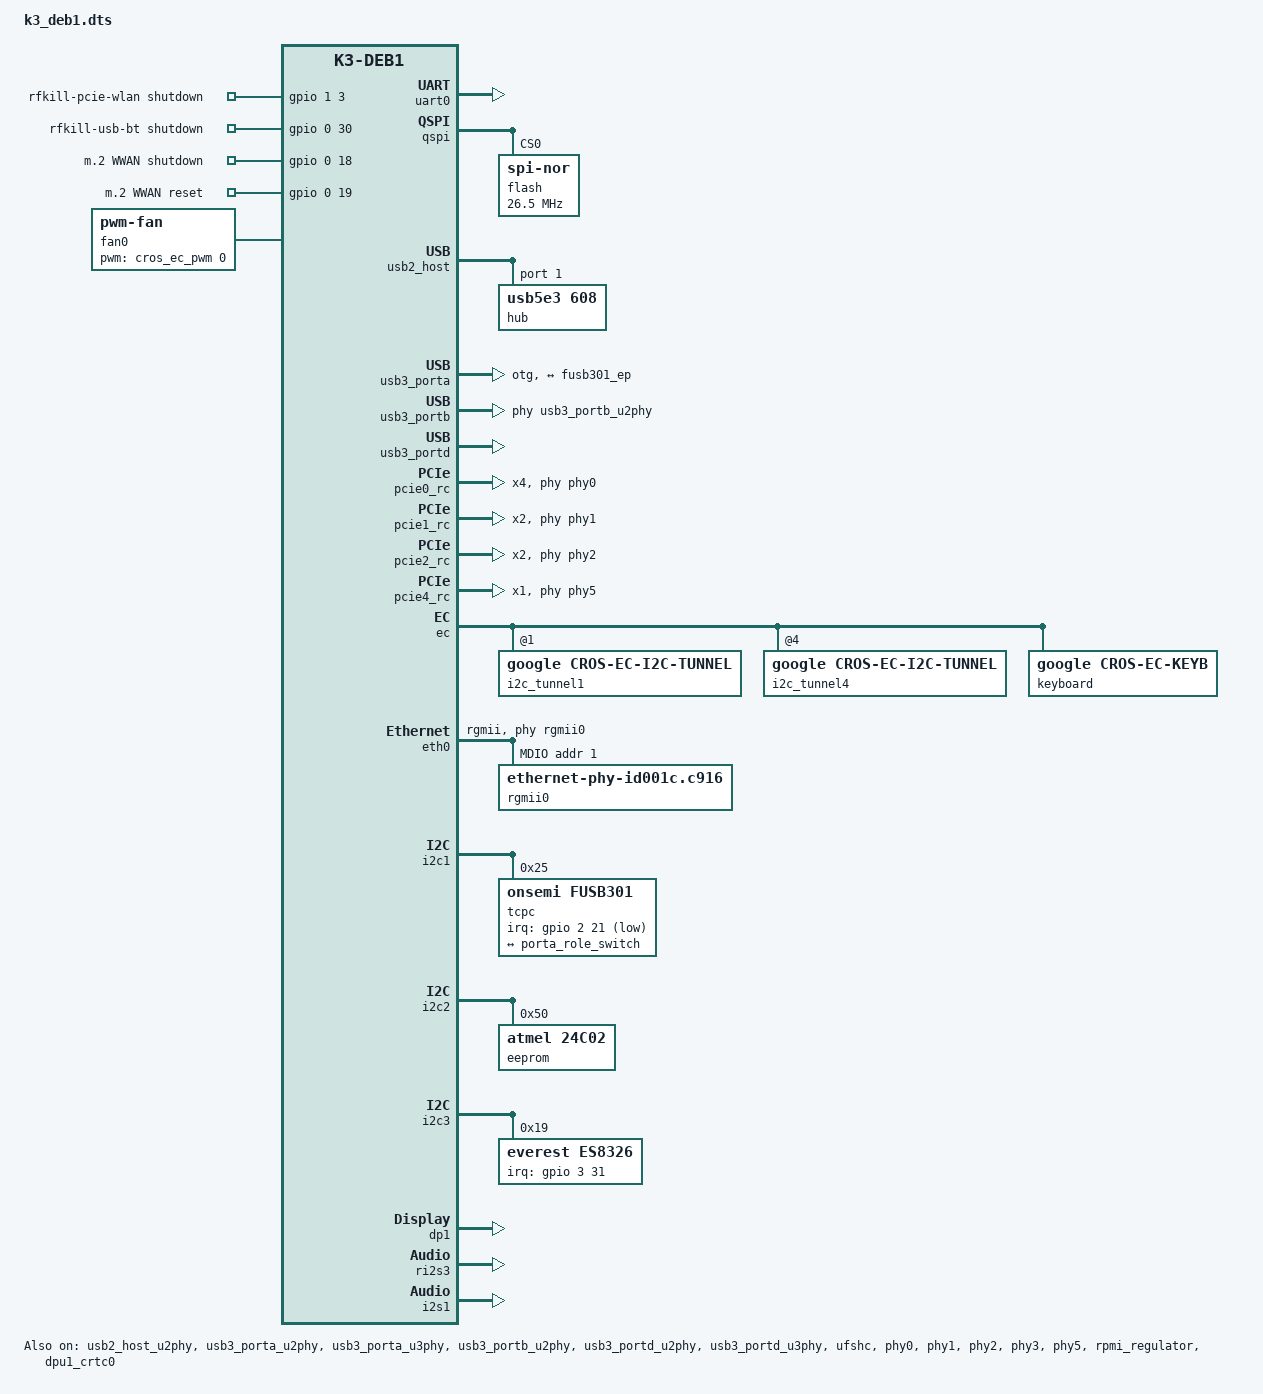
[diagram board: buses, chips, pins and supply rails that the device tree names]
// SPDX-License-Identifier: (GPL-2.0 OR MIT)
/* Copyright (c) 2025 Spacemit, Inc */

#include "k3.dtsi"
#include "k3-rdomain.dtsi"
#include "k3-pinctrl.dtsi"
#include "k3_opp_table.dtsi"
#include "k3-dp1.dtsi"
#include <dt-bindings/input/input.h>
#include <dt-bindings/input/cros-ec-keyboard.h>

/ {
	compatible = "spacemit,k3-deb1";
	cpus: cpus {
		#address-cells = <1>;
		#size-cells = <0>;
		timebase-frequency = <24000000>;
	};
/*
	p12v: p12v {
		compatible = "regulator-fixed";
		regulator-name = "p12v";
		regulator-always-on;
		regulator-boot-on;
		regulator-min-microvolt = <12000000>;
		regulator-max-microvolt = <12000000>;
		status = "disabled";
	};

	aux_5v: aux_5v {
		compatible = "regulator-fixed";
		regulator-name = "aux_5v";
		regulator-always-on;
		regulator-boot-on;
		regulator-min-microvolt = <5000000>;
		regulator-max-microvolt = <5000000>;
		vin-supply = <&p12v>;
		status = "disabled";
	};

	aux_3v3: aux_3v3 {
		compatible = "regulator-fixed";
		regulator-name = "aux_3v3";
		regulator-always-on;
		regulator-boot-on;
		regulator-min-microvolt = <3300000>;
		regulator-max-microvolt = <3300000>;
		vin-supply = <&aux_5v>;
		status = "disabled";
	};

	p1v8: p1v8 {
		compatible = "regulator-fixed";
		regulator-name = "p1v8";
		regulator-always-on;
		regulator-boot-on;
		regulator-min-microvolt = <1800000>;
		regulator-max-microvolt = <1800000>;
		vin-supply = <&p12v>;
		status = "disabled";
	};

	p3v3: p3v3 {
		compatible = "regulator-fixed";
		regulator-name = "p3v3";
		regulator-always-on;
		regulator-boot-on;
		regulator-min-microvolt = <3300000>;
		regulator-max-microvolt = <3300000>;
		vin-supply = <&p12v>;
		status = "disabled";
	};
*/
	chosen {
                bootargs = "earlycon=sbi console=ttyS0,115200 clk_ignore_unused nohlt loglevel=8 random.trust_bootloader=1";
                rng-seed = <0x25d69b2 0xff555073 0xd23238ea 0x57aa5455 0x792478ed 0xa744f28e 0x6ba4fc54 0xa2bf20fc>;
		stdout-path = "serial0:115200";
	};

	rfkill-pcie-wlan {
		compatible = "rfkill-gpio";
		label = "rfkill-pcie-wlan";
		pinctrl-names = "default";
		pinctrl-0 = <&wlan_en_cfg>;
		radio-type = "wlan";
		shutdown-gpios = <&gpio 1 3 GPIO_ACTIVE_HIGH>;
	};

	rfkill-usb-bt {
		compatible = "rfkill-gpio";
		label = "rfkill-usb-bt";
		pinctrl-names = "default";
		pinctrl-0 = <&bt_en_cfg>;
		radio-type = "bluetooth";
		shutdown-gpios = <&gpio 0 30 GPIO_ACTIVE_HIGH>;
	};

	rfkill-usb-wwan {
		compatible = "rfkill-gpio";
		label = "m.2 WWAN"; /* B-Key */
		radio-type = "wwan";
		/* MODULE_TURN_ON_1V8 (FC_PWROFF#) */
		shutdown-gpios = <&gpio 0 18 GPIO_ACTIVE_HIGH>;
		/* WWAN_RESET#_1V8 (WWAN1V8_RST#) */
		reset-gpios = <&gpio 0 19 GPIO_ACTIVE_HIGH>;
		/* GPIO84 for CPU_W_DISABLE#1 (WWAN_DIS#) is no needed*/
	};

	fan0: pwm-fan {
		compatible = "pwm-fan";
		pwms = <&cros_ec_pwm 0>;
		/*
		* Cooling states (0-6) -> PWM duty (0-255)
		* Full speed is treated as ~6000RPM.
		* Linear distribution from 0 to 255
		*/
		cooling-levels = <0 50 64 75 102 118 153 178 204 229>;
		#cooling-cells = <2>;
	};
};

&resmem {
	/* global autoconfigured region for contiguous allocations */
	cmamem: linux,cma {
		compatible = "shared-dma-pool";
		reusable;
		size = <0 0x20000000>;
		alloc-ranges = <1 0x40000000 0 0x20000000>;
		linux,cma-default;
	};
};

&pinctrl {
	gmac0-cfg {
		/delete-node/ gmac0-2-pins;
		/delete-node/ gmac0-4-pins;
		/delete-node/ gmac0-5-pins;

		gmac0-0-pins {
			power-source = <1800>;
		};

		gmac0-1-pins {
			power-source = <1800>;
		};

		gmac0-3-pins {
			power-source = <1800>;
		};

		gmac0-6-pins {
			pinmux = <K3_PADCONF(15, 0)>;

			bias-disable;
			drive-strength = <25>;
			power-source = <1800>;
		};
	};

	i2c2-1-cfg {
		i2c2-0-pins {
			power-source = <1800>;
		};
	};

	i2c1-3-cfg {
		i2c1-0-pins {
			power-source = <3300>;
		};
	};

	i2c3-1-cfg {
		i2c3-0-pins {
			power-source = <3300>;
		};
	};

	usb30_drd_dir-0-cfg {
		usb30_drd_dir-pins {
			power-source = <1800>;
		};
	};

	fusb301_cfg: fusb301-cfg {
		fusb301-0-pins {
			pinmux = <K3_PADCONF(85, 0)>;

			bias-pull-up;
			drive-strength = <25>;
			power-source = <1800>;
		};
	};

	qspi-cfg {
		/delete-node/ qspi-1-pins;
		qspi-0-pins {
			power-source = <1800>;
		};
	};

	pcie0-1-cfg {
		pcie0-0-pins {
			pinmux = <K3_PADCONF(79, 5)>,
				 <K3_PADCONF(81, 5)>;

			bias-pull-up;
			drive-strength = <33>;
			power-source = <1800>;
		};
	};

	pcie1-1-cfg {
		pcie1-0-pins {
			pinmux = <K3_PADCONF(88, 4)>,	/* pcie1 perst */
				 <K3_PADCONF(90, 4)>;	/* pcie1 clkreq */

			bias-pull-up;
			drive-strength = <33>;
			power-source = <1800>;
		};
	};

	pcie2-1-cfg {
		pcie2-0-pins {
			pinmux = <K3_PADCONF(25, 4)>,	/* pcie2 perst */
				 <K3_PADCONF(27, 4)>;	/* pcie2 clkreq */

			drive-strength = <38>;
			power-source = <3300>;
		};
	};

	pcie4_0_cfg: pcie4-0-cfg {
		pcie4-0-pins {
			pinmux = <K3_PADCONF(76, 5)>,	/* pcie4 perst */
				 <K3_PADCONF(77, 5)>,	/* pcie4 wake */
				 <K3_PADCONF(78, 5)>;	/* pcie4 clkreq */

			bias-pull-up;			/* normal bias disable */
			drive-strength = <33>;		/* DS8 */
			power-source = <1800>;
		};
	};

	wlan_en_cfg: wl-en-cfg {
		wlan-en-pins {
			pinmux = <K3_PADCONF(35, 0)>;

			bias-pull-up;
			drive-strength = <38>;
			power-source = <3300>;
		};
	};

	bt_en_cfg: bt-en-cfg {
		bt-en-pins {
			pinmux = <K3_PADCONF(30, 0)>;

			bias-pull-up;
			drive-strength = <38>;
			power-source = <3300>;
		};
	};

	dp1_1_cfg: dp1-1-cfg {
		dp1-0-pins {
			pinmux = <K3_PADCONF(24, 6)>;	/* dp1 hpd */

			bias-disable;			/* normal bias disable */
			drive-strength = <25>;		/* DS8 */
			power-source = <3300>;
		};
	};

	dp0_1_cfg: dp0-1-cfg {
		dp0-0-pins {
			pinmux = <K3_PADCONF(23, 6)>;	/* dp0 hpd */

			bias-disable;			/* normal bias disable */
			drive-strength = <25>;		/* DS8 */
			power-source = <3300>;
		};
	};

	sspa1_1_cfg: sspa1-1-cfg {
		sspa1-0-pins {
			power-source = <3300>;
		};
	};
};

&uart0 {
	pinctrl-names = "default";
	pinctrl-0 = <&uart0_0_cfg>;
	status = "okay";
};

&qspi {
	pinctrl-names = "default";
	pinctrl-0 = <&qspi_cfg>;
	spacemit,qspi-tx-dma = <0>;
	spacemit,qspi-rx-dma = <0>;
	status = "okay";

	flash@0 {
		compatible = "jedec,spi-nor";
		reg = <0>;
		spi-max-frequency = <26500000>;
		m25p,fast-read;
		broken-flash-reset;
		status = "okay";
	};
};

&usb2_host_u2phy {
	status = "okay";
};

&usb2_host {
	#address-cells = <1>;
	#size-cells = <0>;
	status = "okay";

	hub@1 {
		/* FE1.1S USB2.0 hub (4 ports) */
		compatible = "usb5e3,608";
		reg = <1>;
	};
};

&usb3_porta_u2phy {
	status = "okay";
};

&usb3_porta_u3phy {
	/* dual phy selection is auto detect from GPIO86(SS_SW_3V3) */
	pinctrl-names = "default";
	pinctrl-0 = <&usb30_drd_dir_0_cfg>;
	status = "okay";
};

&usb3_porta {
	dr_mode = "otg";
	usb-role-switch;
	role-switch-default-mode = "peripheral";
	monitor-vbus;
	status = "okay";

	ports {
		#address-cells = <1>;
		#size-cells = <0>;
		port@0 {
			reg = <0x0>;
			porta_role_switch: endpoint {
				remote-endpoint = <&fusb301_ep>;
			};
		};
	};
};

&usb3_portb_u2phy {
	status = "okay";
};

&usb3_portb {
	/* M2.B Socket, only enable USB2 phy */
	/delete-property/ phys;
	/delete-property/ phy-names;
	maximum-speed = "high-speed";
	phys = <&usb3_portb_u2phy>;
	phy-names = "usb2-phy";
	status = "disabled";
	status = "okay";
};

&usb3_portc_u2phy {
	status = "disabled";
};

&usb3_portc_u3phy {
	status = "disabled";
};

&usb3_portc {
	/* Bluetooth, only enable USB2 phy */
	/delete-property/ phys;
	/delete-property/ phy-names;
	maximum-speed = "high-speed";
	phys = <&usb3_portc_u2phy>;
	phy-names = "usb2-phy";
	status = "disabled";
};

&usb3_portd_u2phy {
	status = "okay";
};

&usb3_portd_u3phy {
	status = "okay";
};

&usb3_portd {
	/* TypeC (USB3/DP/Power) (with ANX7447 chip) */
	status = "okay";
};

&ufshc {
	status = "okay";
};

&phy0 {
	status = "okay";
};

&phy1 {
	status = "okay";
};

&phy2 {
	status = "okay";
};

&phy3 {
	status = "okay";
};

&phy5 {
	status = "okay";
};

&pcie0_rc {
	pinctrl-names = "default";
	pinctrl-0 = <&pcie0_1_cfg>;
	phys = <&phy0>, <&phy1>;
	phy-names = "phy0", "phy1";
	num-lanes = <4>;
	spacemit,device-detect-gpios = <&gpio 2 25 GPIO_ACTIVE_HIGH>;
	status = "okay";
};

&pcie1_rc {
	pinctrl-names = "default";
	pinctrl-0 = <&pcie1_1_cfg>;
	phys = <&phy1>;
	phy-names = "phy1";
	num-lanes = <2>;
	status = "okay";
};

&pcie2_rc {
	pinctrl-names = "default";
	pinctrl-0 = <&pcie2_1_cfg>;
	phys = <&phy2>, <&phy3>;
	phy-names = "phy2", "phy3";
	num-lanes = <2>;
	status = "okay";
};

&pcie4_rc {
	pinctrl-names = "default";
	pinctrl-0 = <&pcie4_0_cfg>;
	phys = <&phy5>;
	phy-names = "phy5";
	num-lanes = <1>;
	status = "okay";
};

&ec {
	status = "okay";
	interrupt-parent = <&gpio>;
	interrupts = <1 11 IRQ_TYPE_EDGE_RISING>;

	i2c_tunnel1: i2c-tunnel@1 {
		compatible = "google,cros-ec-i2c-tunnel";
		#address-cells = <1>;
		#size-cells = <0>;
		google,remote-bus = <1>;
	};

	i2c_tunnel4: i2c-tunnel@4 {
		compatible = "google,cros-ec-i2c-tunnel";
		#address-cells = <1>;
		#size-cells = <0>;
		google,remote-bus = <4>;
	};

	/* EC PWM provider for fan control */
	cros_ec_pwm: pwm {
		compatible = "google,cros-ec-pwm";
		#pwm-cells = <1>;
	};

	keyboard {
		compatible = "google,cros-ec-keyb";
		keypad,num-rows = <8>;
		keypad,num-columns = <16>;
		linux,keymap = <
				CROS_STD_TOP_ROW_KEYMAP
				CROS_STD_MAIN_KEYMAP
		>;
	};
};

&eth0 {
	pinctrl-names = "default";
	pinctrl-0 = <&gmac0_cfg>;

	max-speed = <1000>;
	tx-fifo-depth = <8192>;
	rx-fifo-depth = <8192>;
	snps,tso;
	snps,force_sf_dma_mode;
	phy-mode = "rgmii";
	phy-handle = <&rgmii0>;
	snps,reset-gpios = <&gpio 0 15 GPIO_ACTIVE_LOW>;
	snps,reset-delays-us = <2 10000 10000>;

	spacemit,wake-irq-enable;

	spacemit,clk-tuning-enable;
	spacemit,clk-tuning-by-delayline;
	spacemit,tx-phase = <73>;
	spacemit,rx-phase = <61>;

	status = "okay";

	mdio {
		#address-cells = <1>;
		#size-cells = <0>;
		compatible = "snps,dwmac-mdio";

		rgmii0: phy@0 {
			compatible = "ethernet-phy-id001c.c916";
			reg = <0x1>;
			device_type = "ethernet-phy";
		};
	};
};

&thermal_zones {
	thermal_top {
		polling-delay = <1000>;
		polling-delay-passive = <500>;
		thermal-sensors = <&thermal 0>;

		trips {
			thermal_top_trip0: thermal_top-trip0 {
				temperature = <45000>;
				hysteresis = <2000>;
				type = "active";
			};
		};
	};

	thermal_vpu {
		polling-delay = <1000>;
		polling-delay-passive = <500>;
		thermal-sensors = <&thermal 2>;

		trips {
			thermal_vpu_trip0: thermal_vpu-trip0 {
				temperature = <60000>;
				hysteresis = <2000>;
				type = "active";
			};
		};
	};

	thermal_gpu {
		polling-delay = <1000>;
		polling-delay-passive = <500>;
		thermal-sensors = <&thermal 3>;

		trips {
			thermal_gpu_trip0: thermal_gpu-trip0 {
				temperature = <60000>;
				hysteresis = <2000>;
				type = "active";
			};
		};
	};

	thermal_cluster0 {
		polling-delay = <1000>;
		polling-delay-passive = <500>;
		thermal-sensors = <&thermal 4>;

		trips {
			thermal_cluster0_trip0: thermal_cluster0-trip0 {
				temperature = <35000>;
				hysteresis = <2000>;
				type = "active";
			};

			thermal_cluster0_trip1: thermal_cluster0-trip1 {
				temperature = <42000>;
				hysteresis = <2000>;
				type = "passive";
			};

			thermal_cluster0_trip2: thermal_cluster0-trip2 {
				temperature = <52000>;
				hysteresis = <2000>;
				type = "passive";
			};

			thermal_cluster0_trip3: thermal_cluster0-trip3 {
				temperature = <65000>;
				hysteresis = <2000>;
				type = "passive";
			};

			thermal_cluster0_trip4: thermal_cluster0-trip4 {
				temperature = <72000>;
				hysteresis = <2000>;
				type = "passive";
			};
		};

		cooling-maps {
			map0 {
				trip = <&thermal_cluster0_trip0>;
				cooling-device = <&fan0 0 1>;
			};

			map1 {
				trip = <&thermal_cluster0_trip1>;
				cooling-device = <&fan0 2 3>;
			};

			map2 {
				trip = <&thermal_cluster0_trip2>;
				cooling-device = <&fan0 4 5>;
			};

			map3 {
				trip = <&thermal_cluster0_trip3>;
				cooling-device = <&fan0 6 7>;
			};

			map4 {
				trip = <&thermal_cluster0_trip4>;
				cooling-device = <&fan0 8 9>;
			};
		};
	};
	thermal_cluster1 {
		polling-delay = <1000>;
		polling-delay-passive = <250>;
		thermal-sensors = <&thermal 5>;

		trips {
			thermal_cluster1_trip0: thermal_cluster1-trip0 {
				temperature = <40000>;
				hysteresis = <5000>;
				type = "passive";
			};
		};
	};

	thermal_cluster2 {
		polling-delay = <1000>;
		polling-delay-passive = <250>;
		thermal-sensors = <&thermal 6>;

		trips {
			thermal_cluster2_trip0: thermal_cluster2-trip0 {
				temperature = <40000>;
				hysteresis = <5000>;
				type = "passive";
			};
		};
	};

	thermal_cluster3 {
		polling-delay = <1000>;
		polling-delay-passive = <250>;
		thermal-sensors = <&thermal 7>;

		trips {
			thermal_cluster7_trip0: thermal_cluster7-trip0 {
				temperature = <40000>;
				hysteresis = <5000>;
				type = "passive";
			};
		};
	};
};

&rpmi_regulator {
	status = "okay";
	pinctrl-names = "default";
	pinctrl-0 = <&i2c8_cfg_rcpu>;

	pvin: pvin {
		regulator-min-microvolt = <5000000>;
		regulator-max-microvolt = <5000000>;
		regulator-always-on;
		regulator-boot-on;
	};

	edcdc2: edcdc2 {
		regulator-min-microvolt = <800000>;
		regulator-max-microvolt = <800000>;
		regulator-always-on;
		regulator-boot-on;
	};

	edcdc1: edcdc1 {
		regulator-min-microvolt = <534000>;
		regulator-max-microvolt = <1000000>;
		regulator-always-on;
		regulator-boot-on;
	};

	p3v3: p3v3 {
		regulator-min-microvolt = <3300000>;
		regulator-max-microvolt = <3300000>;
		regulator-always-on;
		regulator-boot-on;
	};

	p1v8: p1v8 {
		regulator-min-microvolt = <1800000>;
		regulator-max-microvolt = <1800000>;
		regulator-always-on;
		regulator-boot-on;
	};

	dcdc1: dcdc1 {
		regulator-min-microvolt = <1050000>;
		regulator-max-microvolt = <1050000>;
		regulator-always-on;
		regulator-boot-on;
	};

	dcdc3: dcdc3 {
		regulator-min-microvolt = <800000>;
		regulator-max-microvolt = <800000>;
		regulator-always-on;
		regulator-boot-on;
	};

	dcdc4: dcdc4 {
		regulator-min-microvolt = <2100000>;
		regulator-max-microvolt = <2100000>;
		regulator-always-on;
		regulator-boot-on;
	};

	dcdc5: dcdc5 {
		regulator-min-microvolt = <1800000>;
		regulator-max-microvolt = <1800000>;
		regulator-always-on;
		regulator-boot-on;
	};

	dcdc6: dcdc6 {
		regulator-min-microvolt = <500000>;
		regulator-max-microvolt = <600000>;
		regulator-always-on;
		regulator-boot-on;
	};

	aldo1: aldo1 {
		regulator-min-microvolt = <1800000>;
		regulator-max-microvolt = <3300000>;
		regulator-always-on;
		regulator-boot-on;
	};

	aldo2: aldo2 {
		regulator-min-microvolt = <1800000>;
		regulator-max-microvolt = <1800000>;
		regulator-always-on;
		regulator-boot-on;
	};

	aldo3: aldo3 {
		regulator-min-microvolt = <500000>;
		regulator-max-microvolt = <3400000>;
	};

	aldo4: aldo4 {
		regulator-min-microvolt = <3300000>;
		regulator-max-microvolt = <3300000>;
		regulator-always-on;
		regulator-boot-on;
	};

	dldo1: dldo1 {
		regulator-min-microvolt = <1200000>;
		regulator-max-microvolt = <1200000>;
		regulator-always-on;
		regulator-boot-on;
	};

	dldo2: dldo2 {
		regulator-min-microvolt = <900000>;
		regulator-max-microvolt = <900000>;
		regulator-always-on;
		regulator-boot-on;
	};

	dldo3: dldo3 {
		regulator-min-microvolt = <800000>;
		regulator-max-microvolt = <800000>;
		regulator-always-on;
		regulator-boot-on;
	};

	dldo4: dldo4 {
		regulator-min-microvolt = <1800000>;
		regulator-max-microvolt = <1800000>;
		regulator-always-on;
		regulator-boot-on;
	};

	dldo5: dldo5 {
		regulator-min-microvolt = <1800000>;
		regulator-max-microvolt = <1800000>;
		regulator-always-on;
		regulator-boot-on;
	};

	dldo6: dldo6 {
		regulator-min-microvolt = <1800000>;
		regulator-max-microvolt = <1800000>;
		regulator-always-on;
		regulator-boot-on;
	};

	dldo7: dldo7 {
		regulator-min-microvolt = <1800000>;
		regulator-max-microvolt = <1800000>;
		regulator-always-on;
		regulator-boot-on;
	};

	pwr_x100: pwr_x100 {
		regulator-min-microvolt = <3300000>;
		regulator-max-microvolt = <3300000>;
		regulator-always-on;
		regulator-boot-on;
	};

	pwr_a100: pwr_a100 {
		regulator-min-microvolt = <3300000>;
		regulator-max-microvolt = <3300000>;
		regulator-always-on;
		regulator-boot-on;
	};

	pwr_ext: pwr_ext {
		regulator-min-microvolt = <3300000>;
		regulator-max-microvolt = <3300000>;
		regulator-always-on;
		regulator-boot-on;
	};
};

&i2c1 {
	pinctrl-names = "default";
	pinctrl-0 = <&i2c1_3_cfg>;
	status = "okay";

	tcpc@25 {
		compatible = "onsemi,fusb301";
		reg = <0x25>;
		pinctrl-names = "default";
		pinctrl-0 = <&fusb301_cfg>;
		irq-gpios = <&gpio 2 21 GPIO_ACTIVE_LOW>;
		wakeup-source;
		status = "okay";

		typec_0: connector@0 {
			compatible = "usb-c-connector";
			label = "USB-C";
			data-role = "dual";
			power-role = "dual";
			try-power-role = "sink";
			typec-power-opmode = "default";
			pd-disable;

			ports {
				#address-cells = <0x1>;
				#size-cells = <0x0>;

				port@0 {
					reg = <0x0>;
					fusb301_ep: endpoint {
						remote-endpoint = <&porta_role_switch>;
					};
				};
			};
		};
	};
};

&i2c2 {
	pinctrl-names = "default";
	pinctrl-0 = <&i2c2_1_cfg>;
	status = "okay";

	eeprom@50 {
		compatible = "atmel,24c02";
		reg = <0x50>;
		read-only;
		status = "okay";

		nvmem-layout {
			compatible = "onie,tlv-layout";

			product_name: product-name {
			};
		};
	};
};

&i2c3 {
	pinctrl-names = "default";
	pinctrl-0 = <&i2c3_1_cfg>;
	status = "okay";

	es8326: es8326@19{
		compatible = "everest,es8326";
		reg = <0x19>;
		#sound-dai-cells = <0>;
		interrupt-parent = <&gpio>;
		interrupts = <3 31 IRQ_TYPE_EDGE_RISING>;
		/* spk-ctl-gpio = <&gpio 127 0>; */
		everest,mic1-src = [44];
		everest,mic2-src = [66];
		everest,jack-detect-inverted;
		status = "okay";
	};
};
/*
&i2c8 {
	pinctrl-names = "default";
	pinctrl-0 = <&i2c8_cfg>;
	status = "disabled";

	p1@41 {
		compatible = "spacemit,p1";
		reg = <0x41>;
		status = "disabled";

		vcc-supply = <&aux_5v>;

		regulators {
			compatible = "spacemit-p1-regulator";

			buck1: buck1 {
				regulator-min-microvolt = <1050000>;
				regulator-max-microvolt = <1050000>;
				regulator-ramp-delay = <5000>;
				regulator-always-on;
				regulator-boot-on;
			};

			buck2: buck2 {
				regulator-min-microvolt = <1050000>;
				regulator-max-microvolt = <1050000>;
				regulator-ramp-delay = <5000>;
				regulator-always-on;
				regulator-boot-on;
			};

			buck3: buck3 {
				regulator-min-microvolt = <800000>;
				regulator-max-microvolt = <800000>;
				regulator-ramp-delay = <5000>;
				regulator-always-on;
				regulator-boot-on;
			};

			buck4: buck4 {
				regulator-min-microvolt = <2100000>;
				regulator-max-microvolt = <2100000>;
				regulator-ramp-delay = <5000>;
				regulator-always-on;
				regulator-boot-on;
			};

			buck5: buck5 {
				regulator-min-microvolt = <1800000>;
				regulator-max-microvolt = <1800000>;
				regulator-ramp-delay = <5000>;
				regulator-always-on;
				regulator-boot-on;
			};

			buck6: buck6 {
				regulator-min-microvolt = <500000>;
				regulator-max-microvolt = <500000>;
				regulator-ramp-delay = <5000>;
				regulator-always-on;
				regulator-boot-on;
			};

			aldo1: aldo1 {
				regulator-min-microvolt = <1800000>;
				regulator-max-microvolt = <3300000>;
				regulator-always-on;
				regulator-boot-on;
			};

			aldo2: aldo2 {
				regulator-min-microvolt = <1800000>;
				regulator-max-microvolt = <1800000>;
				regulator-always-on;
				regulator-boot-on;
			};

			aldo3: aldo3 {
				regulator-min-microvolt = <500000>;
				regulator-max-microvolt = <3400000>;
			};

			aldo4: aldo4 {
				regulator-min-microvolt = <3300000>;
				regulator-max-microvolt = <3300000>;
				regulator-always-on;
				regulator-boot-on;
			};

			dldo1: dldo1 {
				regulator-min-microvolt = <1200000>;
				regulator-max-microvolt = <1200000>;
				regulator-always-on;
				regulator-boot-on;
			};

			dldo2: dldo2 {
				regulator-min-microvolt = <900000>;
				regulator-max-microvolt = <900000>;
				regulator-always-on;
				regulator-boot-on;
			};

			dldo3: dldo3 {
				regulator-min-microvolt = <800000>;
				regulator-max-microvolt = <800000>;
				regulator-always-on;
				regulator-boot-on;
			};

			dldo4: dldo4 {
				regulator-min-microvolt = <1800000>;
				regulator-max-microvolt = <1800000>;
				regulator-boot-on;
			};

			dldo5: dldo5 {
				regulator-min-microvolt = <1800000>;
				regulator-max-microvolt = <1800000>;
				regulator-always-on;
				regulator-boot-on;
			};

			dldo6: dldo6 {
				regulator-min-microvolt = <1800000>;
				regulator-max-microvolt = <1800000>;
				regulator-always-on;
				regulator-boot-on;
			};

			dldo7: dldo7 {
				regulator-min-microvolt = <1800000>;
				regulator-max-microvolt = <1800000>;
				regulator-always-on;
				regulator-boot-on;
			};
		};
	};

	mpq8655: mpq8655@30 {
		compatible = "spacemit,mpq8655";
		reg = <0x30>;

		vcc-supply = <&p12v>;

		regulators {
			compatible = "spacemit,regulator,mpq8655";

			edcdc1: edcdc1 {
				regulator-min-microvolt = <600000>;
				regulator-max-microvolt = <1000000>;
				regulator-ramp-delay = <10>;
				regulator-always-on;
				regulator-boot-on;
			};
		};
	};
};
*/

/*
&dpu0_crtc0 {
	memory-region = <&dpu_resv0>;
	status = "okay";
};

&edp0 {
	pinctrl-names = "default";
	pinctrl-0 = <&dp0_1_cfg>;
	gpios-power = <101>;
	gpios-enable = <118>;
	gpios-bl = <106>;

	status = "okay";
};
*/

&dpu1_crtc0 {
	memory-region = <&dpu_resv1>;
	status = "okay";
};

&dp1 {
	pinctrl-names = "default";
	pinctrl-0 = <&dp1_1_cfg>;
	status = "okay";
};

&adma3 {
	status = "okay";
};

&ri2s3 {
	status = "okay";
};

&sound_card_dp1 {
	status = "okay";
	playback-only;
	simple-audio-card,mclk-fs = <512>;
	simple-audio-card,dai-link@0 {
		format = "left_j";
		frame-master = <&dp1_link_cpu>;
		bitclock-master = <&dp1_link_cpu>;
		dp1_link_codec: codec {
			sound-dai = <&dp1>;
		};
	};
};

&i2s1 {
	status = "okay";
	pinctrl-0 = <&sspa1_1_cfg>;
	pinctrl-names = "default";
};

&sound_card1 {
	status = "okay";
	simple-audio-card,mclk-fs = <256>;
	simple-audio-card,dai-link@0 {
		format = "i2s";
		frame-master = <&link1_cpu>;
		bitclock-master = <&link1_cpu>;

		link1_cpu: cpu {
			sound-dai = <&i2s1>;
		};

		link1_codec: codec {
			sound-dai = <&es8326>;
		};
	};
};
